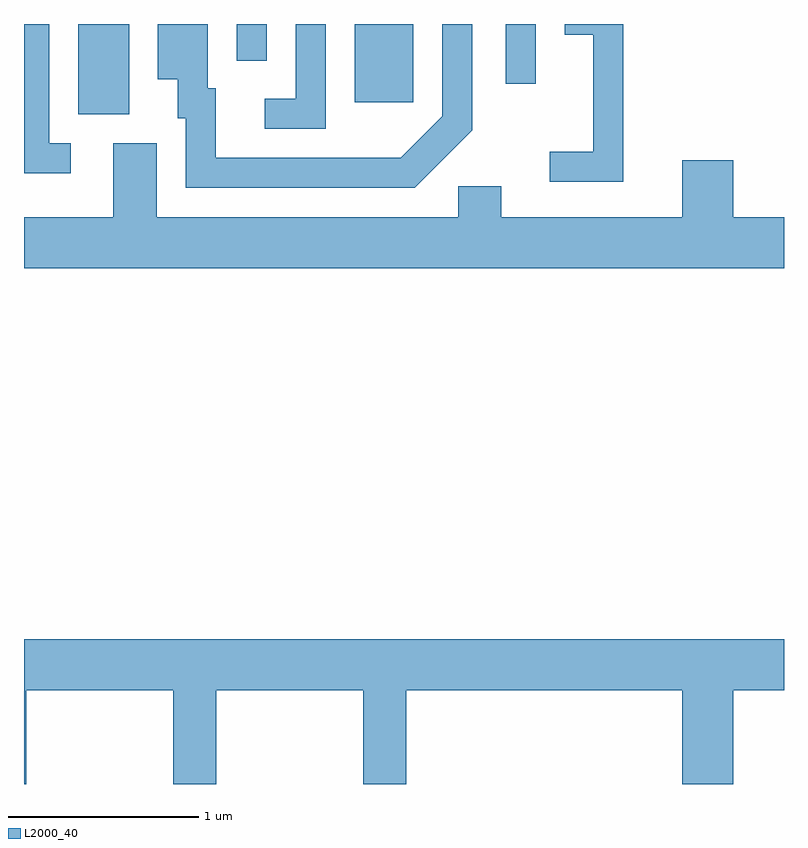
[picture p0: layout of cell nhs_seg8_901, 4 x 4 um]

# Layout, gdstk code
import gdstk
lib = gdstk.Library(unit=1e-6, precision=1e-09)
def R(c, l, rs):  # rectangles x0, y0, x1, y1
    for r in rs: c.add(gdstk.rectangle(r[:2], r[2:], *l))
def P(c, l, *ps):  # polygons
    for p in ps: c.add(gdstk.Polygon(p, *l))
L2000_40 = (2000, 40)

nhs_seg8_901 = lib.new_cell('nhs_seg8_901')
R(nhs_seg8_901, L2000_40, [(211.896,1863.866,212.164,1864.342), (213.351,1863.931,213.659,1864.342), (214.146,1864.028,214.304,1864.342), (212.731,1864.148,212.889,1864.342)])
P(nhs_seg8_901, L2000_40, [(211.858,1863.714),(211.744,1863.714),(211.744,1864.342),(211.611,1864.342),(211.611,1863.556),(211.858,1863.556)],
  [(213.969,1863.784),(213.969,1864.342),(213.811,1864.342),(213.811,1863.857),(213.594,1863.639),(212.619,1863.639),(212.619,1864.004),(212.579,1864.004),(212.579,1864.342),(212.316,1864.342),(212.316,1864.051),(212.421,1864.051),(212.421,1863.846),(212.461,1863.846),(212.461,1863.481),(213.667,1863.481)],
  [(213.199,1864.342),(213.041,1864.342),(213.041,1863.949),(212.878,1863.949),(212.878,1863.791),(213.199,1863.791)],
  [(214.764,1864.342),(214.456,1864.342),(214.456,1864.286),(214.606,1864.286),(214.606,1863.669),(214.378,1863.669),(214.378,1863.511),(214.764,1863.511)],
  [(215.611,1863.324),(215.344,1863.324),(215.344,1863.624),(215.076,1863.624),(215.076,1863.324),(214.124,1863.324),(214.124,1863.489),(213.896,1863.489),(213.896,1863.324),(212.309,1863.324),(212.309,1863.714),(212.081,1863.714),(212.081,1863.324),(211.611,1863.324),(211.611,1863.056),(215.611,1863.056)],
  [(211.624,1860.836),(212.396,1860.836),(212.396,1860.342),(212.624,1860.342),(212.624,1860.836),(213.396,1860.836),(213.396,1860.342),(213.624,1860.342),(213.624,1860.836),(215.076,1860.836),(215.076,1860.342),(215.344,1860.342),(215.344,1860.836),(215.611,1860.836),(215.611,1861.104),(211.611,1861.104),(211.611,1860.342),(211.624,1860.342)])

lib.write_gds('nhs_seg8_901.gds')
